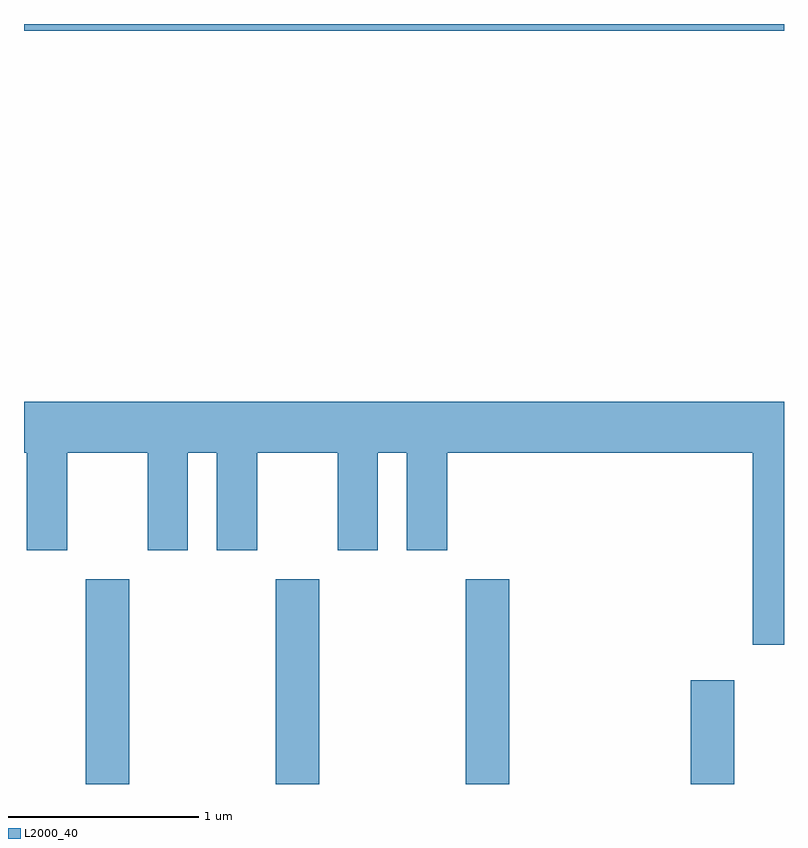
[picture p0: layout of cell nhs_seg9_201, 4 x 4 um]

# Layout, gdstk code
import gdstk
lib = gdstk.Library(unit=1e-6, precision=1e-09)
def R(c, l, rs):  # rectangles x0, y0, x1, y1
    for r in rs: c.add(gdstk.rectangle(r[:2], r[2:], *l))
def A(c, l, x, y, w, h, nx, ny, dx, dy):  # array of equal rectangles
    R(c, l, [(x+i*dx, y+j*dy, x+i*dx+w, y+j*dy+h) for i in range(nx) for j in range(ny)])
def P(c, l, *ps):  # polygons
    for p in ps: c.add(gdstk.Polygon(p, *l))
L2000_40 = (2000, 40)

nhs_seg9_201 = lib.new_cell('nhs_seg9_201')
A(nhs_seg9_201, L2000_40, 189.936, 2074.432, 0.228, 1.077, 3, 1, 1, 0)
R(nhs_seg9_201, L2000_40, [(193.121,2074.432,193.349,2074.979), (189.611,2078.396,193.611,2078.432)])
P(nhs_seg9_201, L2000_40, [(193.611,2076.444),(189.611,2076.444),(189.611,2076.176),(189.626,2076.176),(189.626,2075.661),(189.839,2075.661),(189.839,2076.176),(190.261,2076.176),(190.261,2075.661),(190.474,2075.661),(190.474,2076.176),(190.626,2076.176),(190.626,2075.661),(190.839,2075.661),(190.839,2076.176),(191.261,2076.176),(191.261,2075.661),(191.474,2075.661),(191.474,2076.176),(191.626,2076.176),(191.626,2075.661),(191.839,2075.661),(191.839,2076.176),(193.446,2076.176),(193.446,2075.166),(193.611,2075.166)])

lib.write_gds('nhs_seg9_201.gds')
